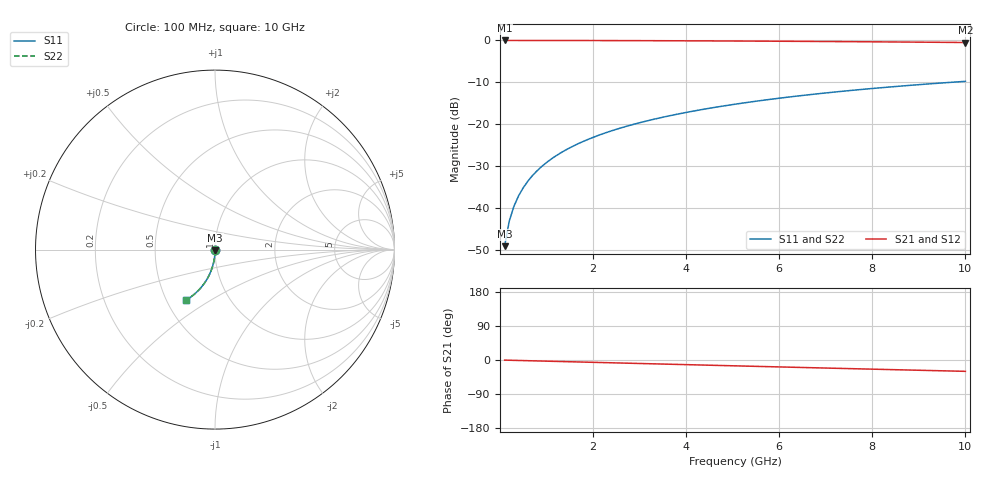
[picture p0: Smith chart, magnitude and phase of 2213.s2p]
# Hz S RI R 50.00
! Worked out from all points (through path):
!   100 points, 100 MHz to 10 GHz, reference 50 ohm
!   highest |S21| = 0.00 dB at 100 MHz (marker M1); lowest = -0.5 dB at 10 GHz (marker M2)
!   group delay of S21, straight-line fit = 8.33 ps
!   lowest |S11| = -49.1 dB at 100 MHz (marker M3), VSWR 1.01, Z = 50 - j0.349 ohm
!   |S11| at or under -10 dB: start of sweep to 9.691 GHz
!   |S22| runs from -49.1 to -9.8 dB; largest |S21 - S12| = 0
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1e8  0.000269 -0.00349  0.9997 -0.00535  0.9997 -0.00535  0.000269 -0.00349
2e8  0.000211 -0.00697  0.9996 -0.0107  0.9996 -0.0107  0.000211 -0.00697
3e8  0.000115 -0.0105  0.9995 -0.016  0.9995 -0.016  0.000115 -0.0105
4e8  -1.89e-05 -0.0139  0.9994 -0.0214  0.9994 -0.0214  -1.89e-05 -0.0139
5e8  -0.00019 -0.0174  0.9992 -0.0267  0.9992 -0.0267  -0.00019 -0.0174
6e8  -0.000398 -0.0209  0.9989 -0.0321  0.9989 -0.0321  -0.000398 -0.0209
7e8  -0.000644 -0.0244  0.9987 -0.0374  0.9987 -0.0374  -0.000644 -0.0244
8e8  -0.000927 -0.0279  0.9984 -0.0427  0.9984 -0.0427  -0.000927 -0.0279
9e8  -0.00125 -0.0313  0.998 -0.0481  0.998 -0.0481  -0.00125 -0.0313
1.1e9  -0.002 -0.0383  0.9972 -0.0587  0.9972 -0.0587  -0.002 -0.0383
1.4e9  -0.0034 -0.0486  0.9956 -0.0747  0.9956 -0.0747  -0.0034 -0.0486
1.8e9  -0.00579 -0.0624  0.993 -0.0959  0.993 -0.0959  -0.00579 -0.0624
2.1e9  -0.00797 -0.0726  0.9906 -0.1117  0.9906 -0.1117  -0.00797 -0.0726
2.5e9  -0.0114 -0.0861  0.9869 -0.1327  0.9869 -0.1327  -0.0114 -0.0861
2.9e9  -0.0153 -0.0994  0.9826 -0.1535  0.9826 -0.1535  -0.0153 -0.0994
3.4e9  -0.0211 -0.1158  0.9763 -0.1793  0.9763 -0.1793  -0.0211 -0.1158
4.2e9  -0.0321 -0.1413  0.9642 -0.2198  0.9642 -0.2198  -0.0321 -0.1413
5.1e9  -0.0468 -0.1685  0.948 -0.264  0.948 -0.264  -0.0468 -0.1685
5.9e9  -0.0619 -0.1913  0.9313 -0.3019  0.9313 -0.3019  -0.0619 -0.1913
6.7e9  -0.0788 -0.2125  0.9126 -0.3384  0.9126 -0.3384  -0.0788 -0.2125
8.4e9  -0.1193 -0.252  0.8673 -0.4106  0.8673 -0.4106  -0.1193 -0.252
1e10  -0.162 -0.2816  0.8191 -0.4712  0.8191 -0.4712  -0.162 -0.2816
